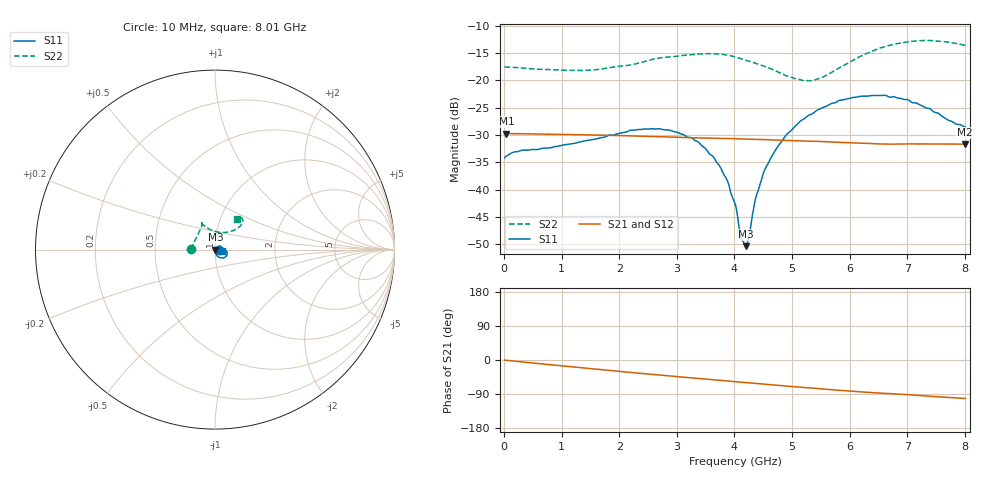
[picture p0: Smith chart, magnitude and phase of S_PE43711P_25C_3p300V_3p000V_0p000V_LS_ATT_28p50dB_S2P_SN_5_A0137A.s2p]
! Device ID: PE43711P
! File Path: z:\PE43711P\CHAR_NOM_04282014\AMB\3p300\LS_ATT_28p50dB\PE43711P_AMB_3p300V_3p000V_0p000V_LS_ATT_28p50dB_S2P_SN_5_A0137A.s2p
! Serial: 5
! Lot: A0137A
! Temp: 25C
! VDD: 3.300
! VSS: 0.000
! Control_Hi: 3.000
! Control_Lo: 0.000
! Attenuation Step: 28.50dB
! Port 1: RF1
! Port 2: RF2
! ThroughPath:1-2
! IDD: 0.0001276376
! ISS: -1.121e-007
#  Hz  S  RI  R  50
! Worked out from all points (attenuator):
!   801 points, 10 MHz to 8.01 GHz, reference 50 ohm
!   highest |S21| = -29.74 dB at 40 MHz (marker M1); lowest = -31.7 dB at 8 GHz (marker M2)
!   lowest |S11| = -50.3 dB at 4.2 GHz (marker M3), VSWR 1.01, Z = 50.3 - j0.126 ohm
!   |S11| at or under -10 dB: start of sweep to end of sweep
!   |S22| runs from -20.1 to -12.7 dB; largest |S21 - S12| = 0.00011
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1e7  0.0196 0.000544  0.0326 -0.000127  0.0326 -0.000109  -0.1328 0.001
4e7  0.0203 0.00112  0.0326 -0.000373  0.0326 -0.000379  -0.132 0.00273
1.35e9  0.0266 0.00713  0.0298 -0.0111  0.0298 -0.0111  -0.1055 0.0627
2.2e9  0.0326 0.0125  0.026 -0.0168  0.0261 -0.0168  -0.0799 0.1126
2.68e9  0.0319 0.0167  0.0236 -0.0193  0.0236 -0.0194  -0.074 0.1412
3.25e9  0.0235 0.0184  0.0202 -0.0219  0.0202 -0.0219  -0.0721 0.1551
3.49e9  0.0172 0.0167  0.0189 -0.0227  0.019 -0.0227  -0.074 0.1582
3.76e9  0.0102 0.0122  0.0174 -0.0237  0.0174 -0.0237  -0.0757 0.1556
3.88e9  0.00751 0.00939  0.0167 -0.0241  0.0167 -0.0242  -0.0754 0.1517
4.01e9  0.00517 0.00541  0.0159 -0.0246  0.0158 -0.0246  -0.0735 0.146
4.12e9  0.00338 0.00116  0.0151 -0.0248  0.0152 -0.0249  -0.0693 0.1405
4.2e9  0.00278 -0.00125  0.0146 -0.0251  0.0146 -0.0251  -0.0655 0.1373
4.25e9  0.00219 -0.00299  0.0143 -0.0251  0.0143 -0.0251  -0.063 0.1356
4.38e9  0.00168 -0.00864  0.0135 -0.0255  0.0136 -0.0255  -0.0563 0.1307
4.55e9  0.00273 -0.0159  0.0124 -0.0258  0.0124 -0.0258  -0.0465 0.124
4.9e9  0.00868 -0.0304  0.0102 -0.0263  0.0102 -0.0263  -0.0196 0.1082
5.35e9  0.0242 -0.0429  0.00755 -0.0267  0.00758 -0.0267  0.0267 0.0956
5.84e9  0.0473 -0.0458  0.00463 -0.0267  0.00459 -0.0267  0.0844 0.101
6.68e9  0.0673 -0.0214  0.000731 -0.0261  0.000738 -0.0261  0.1492 0.1444
7.32e9  0.0558 -0.00437  -0.00222 -0.0262  -0.0022 -0.0261  0.1501 0.1756
8e9  0.037 -0.00615  -0.00514 -0.0255  -0.00525 -0.0256  0.1218 0.1692
8.01e9  0.0368 -0.00644  -0.00521 -0.0255  -0.00526 -0.0255  0.1213 0.1686
